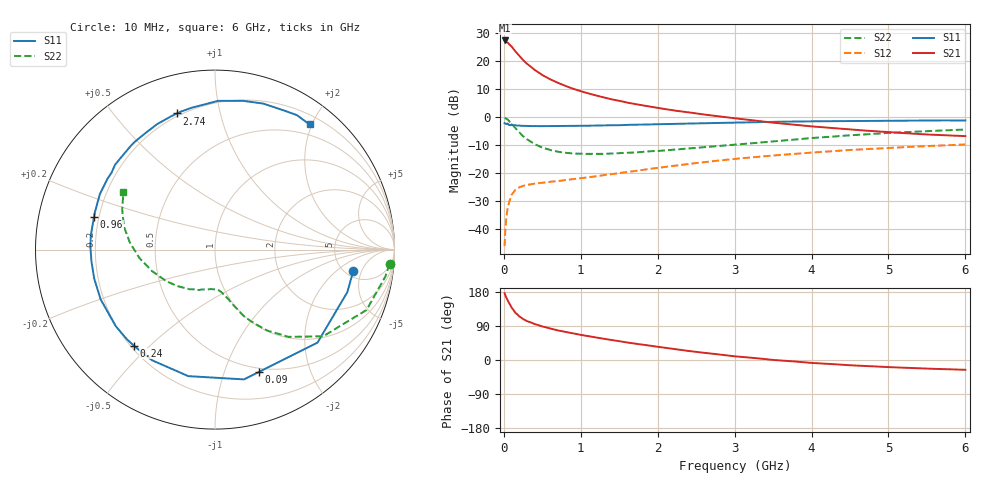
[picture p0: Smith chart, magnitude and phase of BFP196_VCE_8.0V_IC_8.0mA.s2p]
! Infineon Technologies  Discrete & RF Semiconductors
! BFP196
! VCE = 8.0 V,  IC = 8.0mA
! Common Emitter S-Parameters:  Jan 2016
# GHz  S  MA  R  50
!  f  S11  S21  S12  S22
! GHz  MAG  ANG  MAG  ANG  MAG  ANG  MAG  ANG
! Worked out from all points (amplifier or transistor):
!   210 points, 10 MHz to 6 GHz, reference 50 ohm
!   highest |S21| = 27.4 dB at 10 MHz (marker M1)
!   |S21| within 3 dB of that: start of sweep to 124.2 MHz
!   unconditionally stable (mu >= 1): 999.4 MHz to 3.393 GHz
!   at 185 MHz: K = 0.26, MSG = 23.8 dB, |S12| = -25.3 dB
!   at 1.52 GHz: K = 1.15, MAG = 10.4 dB, |S12| = -19.9 dB
!   at 6 GHz: K = 0.96, MSG = 1.5 dB, |S12| = -9.7 dB
!   S11 on the Smith chart (normalised r, x): 10 MHz: 5.82, -3.58; 90 MHz: 0.46, -1.32; 240 MHz: 0.21, -0.45; 960 MHz: 0.18, +0.13; 2.74 GHz: 0.19, +0.74; 6 GHz: 0.33, +1.97
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0.01  0.7795 -8.9  23.34 176.0  0.005 87.0  0.9758 -4.7
0.02  0.7744 -17.8  22.77 169.9  0.0102 80.3  0.961 -9.0
0.05  0.7712 -42.2  21.48 156.7  0.024 69.9  0.9088 -21.7
0.09  0.7243 -70.3  18.74 142.4  0.0375 56.3  0.7935 -34.9
0.1  0.741 -77.4  18.27 138.2  0.0411 54.3  0.7724 -38.7
0.15  0.7205 -101.9  14.9 124.6  0.0506 44.2  0.6355 -49.9
0.2  0.7094 -119.6  12.44 115.2  0.0561 38.4  0.5365 -57.2
0.24  0.7009 -130.2  10.82 109.6  0.0587 35.3  0.4729 -61.4
0.26  0.7002 -134.8  10.14 107.0  0.0599 34.1  0.4466 -63.3
0.3  0.6984 -142.4  8.98 102.7  0.0618 32.4  0.404 -66.6
0.4  0.6948 -156.4  6.97 94.9  0.0652 30.4  0.3303 -71.4
0.5  0.6922 -166.4  5.643 88.5  0.0677 29.7  0.2863 -74.9
0.7  0.6944 178.7  4.11 78.1  0.0722 31.1  0.2421 -81.1
0.96  0.6979 165.0  3.021 67.9  0.0805 34.2  0.2232 -87.4
1.02  0.7012 162.0  2.849 65.6  0.0823 35.0  0.222 -89.0
1.4  0.7172 146.8  2.083 52.7  0.096 38.8  0.2249 -99.6
2.02  0.7491 126.2  1.449 34.3  0.1257 41.0  0.2503 -117.9
2.74  0.7875 105.6  1.059 15.9  0.1653 38.3  0.3003 -139.5
3.1  0.8042 97.2  0.923 8.1  0.1854 35.4  0.3314 -150.2
4.1  0.845 77.8  0.668 -8.8  0.2383 25.6  0.433 -176.1
5.1  0.8652 63.6  0.529 -19.5  0.2871 14.3  0.5305 163.8
6  0.8741 52.9  0.459 -25.8  0.3257 3.5  0.6022 147.9
